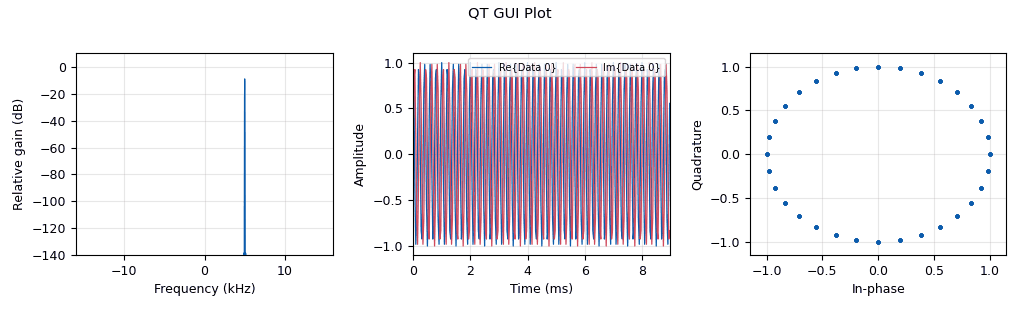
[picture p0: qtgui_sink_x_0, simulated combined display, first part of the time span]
<?xml version='1.0' encoding='utf-8'?>
<?grc format='1' created='3.7.10'?>
<flow_graph>
<block>
<key>options</key>
<param><key>id</key><value>test_find_max_peak_c</value></param>
<param><key>category</key><value>Custom</value></param>
<param><key>generate_options</key><value>qt_gui</value></param>
</block>
<block>
<key>variable</key>
<param><key>id</key><value>packet_len</value></param>
<param><key>value</key><value>2048</value></param>
</block>
<block>
<key>variable</key>
<param><key>id</key><value>samp_rate</value></param>
<param><key>value</key><value>32000</value></param>
</block>
<block>
<key>variable_qtgui_range</key>
<param><key>id</key><value>threshold</value></param>
<param><key>value</key><value>-120</value></param>
<param><key>orient</key><value>Qt.Horizontal</value></param>
<param><key>start</key><value>-200</value></param>
<param><key>step</key><value>1</value></param>
<param><key>stop</key><value>100</value></param>
</block>
<block>
<key>analog_sig_source_x</key>
<param><key>id</key><value>analog_sig_source_x_0</value></param>
<param><key>amp</key><value>1</value></param>
<param><key>freq</key><value>5000</value></param>
<param><key>offset</key><value>0</value></param>
<param><key>type</key><value>complex</value></param>
<param><key>samp_rate</key><value>samp_rate</value></param>
<param><key>waveform</key><value>analog.GR_COS_WAVE</value></param>
</block>
<block>
<key>blocks_stream_to_tagged_stream</key>
<param><key>id</key><value>blocks_stream_to_tagged_stream_0</value></param>
<param><key>len_tag_key</key><value>"packet_len"</value></param>
<param><key>packet_len</key><value>packet_len</value></param>
<param><key>type</key><value>complex</value></param>
</block>
<block>
<key>blocks_throttle</key>
<param><key>id</key><value>blocks_throttle_0</value></param>
<param><key>minoutbuf</key><value>packet_len*2</value></param>
<param><key>samples_per_second</key><value>samp_rate</value></param>
<param><key>type</key><value>complex</value></param>
</block>
<block>
<key>qtgui_sink_x</key>
<param><key>id</key><value>qtgui_sink_x_0</value></param>
<param><key>bw</key><value>samp_rate</value></param>
<param><key>fc</key><value>0</value></param>
<param><key>freqchangevar</key><value>None</value></param>
<param><key>fftsize</key><value>packet_len</value></param>
<param><key>name</key><value>QT GUI Plot</value></param>
<param><key>showports</key><value>True</value></param>
<param><key>type</key><value>complex</value></param>
<param><key>wintype</key><value>firdes.WIN_BLACKMAN_hARRIS</value></param>
</block>
<block>
<key>radar_find_max_peak_c</key>
<param><key>id</key><value>radar_find_max_peak_c_0</value></param>
<param><key>samp_protect</key><value>0</value></param>
<param><key>len_key</key><value>"packet_len"</value></param>
<param><key>samp_rate</key><value>samp_rate</value></param>
<param><key>threshold</key><value>threshold</value></param>
<param><key>cut_max_freq</key><value>False</value></param>
</block>
<block>
<key>radar_print_results</key>
<param><key>id</key><value>radar_print_results_0</value></param>
<param><key>store_msg</key><value>False</value></param>
</block>
<block>
<key>radar_ts_fft_cc</key>
<param><key>id</key><value>radar_ts_fft_cc_0</value></param>
<param><key>minoutbuf</key><value>packet_len*2</value></param>
<param><key>len_key</key><value> "packet_len"</value></param>
<param><key>packet_len</key><value>packet_len</value></param>
</block>
<connection><source_block_id>analog_sig_source_x_0</source_block_id><sink_block_id>blocks_throttle_0</sink_block_id><source_key>0</source_key><sink_key>0</sink_key></connection>
<connection><source_block_id>blocks_stream_to_tagged_stream_0</source_block_id><sink_block_id>qtgui_sink_x_0</sink_block_id><source_key>0</source_key><sink_key>0</sink_key></connection>
<connection><source_block_id>blocks_stream_to_tagged_stream_0</source_block_id><sink_block_id>radar_ts_fft_cc_0</sink_block_id><source_key>0</source_key><sink_key>0</sink_key></connection>
<connection><source_block_id>blocks_throttle_0</source_block_id><sink_block_id>blocks_stream_to_tagged_stream_0</sink_block_id><source_key>0</source_key><sink_key>0</sink_key></connection>
<connection><source_block_id>radar_find_max_peak_c_0</source_block_id><sink_block_id>radar_print_results_0</sink_block_id><source_key>Msg out</source_key><sink_key>Msg in</sink_key></connection>
<connection><source_block_id>radar_ts_fft_cc_0</source_block_id><sink_block_id>radar_find_max_peak_c_0</sink_block_id><source_key>0</source_key><sink_key>0</sink_key></connection>
</flow_graph>
